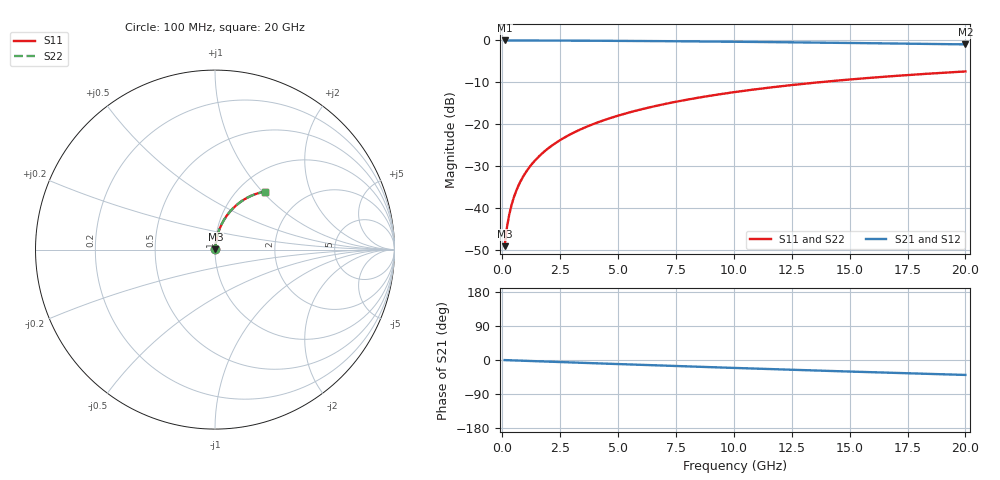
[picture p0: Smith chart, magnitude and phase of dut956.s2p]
! Touchstone file exported from HFSS 2026.1.0
!  File:  C:/ffzhzh/LocalFiles/Ansys_Project_Files/temp_train_BSMRDL_956_1783172347_55132.aedt
!  Generated:  09:40:27 PM Jul  4, 2026
!  Design:  BSMRDL
!  Project:  temp_train_BSMRDL_956_1783172347_55132
! Variables:
!  h_bsmrdl = 5.1um
!  h_ox = 20um
!  h_rdl = 5um
!  h_sub = 80um
!  h_tmrdl = 5um
!  h_tsv = 80um
!  h_via = 3um
!  l_bsmrdl = 521.69um
!  l_sub = 921.69um
!  l_tmrdl = 200um
!  m_sub = 200um
!  pitch = 56.66um
!  r_tsv = 6um
!  s_tmrdl = 10um
!  w_bsmrdl = 17.45um
!  w_sub = 500um
!  w_tmrdl = 12um
!  x_tsv_center1 = 206um
!  x_tsv_center2 = 745.14um
!  x_tsv_center3 = 957.14um
!  x_tsv_center4 = 1496.28um
!  x_tsv_center5 = 1708.28um
!  x_tsv_center6 = 2247.42um
# GHz S MA R 50.000000
! Terminal data exported
! Port[1] = BSM_RDL1_1_T1
! Port[2] = BSM_RDL1_1_T2
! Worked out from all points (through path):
!   200 points, 100 MHz to 20 GHz, reference 50 ohm
!   highest |S21| = -0.02 dB at 100 MHz (marker M1); lowest = -1.0 dB at 20 GHz (marker M2)
!   group delay of S21, straight-line fit = 5.48 ps
!   lowest |S11| = -49.2 dB at 100 MHz (marker M3), VSWR 1.01, Z = 50.2 + j0.272 ohm
!   |S11| at or under -10 dB: start of sweep to 13.7 GHz
!   |S22| runs from -49.2 to -7.4 dB; largest |S21 - S12| = 2.7e-15
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0.1  0.003486 50.9  0.9978 -0.2  0.9978 -0.2  0.003486 50.9
! Gamma 0 0 0 0
! Port Impedance 50 0 50 0
0.2  0.005831 66.6  0.9977 -0.4  0.9977 -0.4  0.005831 66.6
0.3  0.008318 72.9  0.9976 -0.7  0.9976 -0.7  0.008318 72.9
0.4  0.01084 76.2  0.9975 -0.9  0.9975 -0.9  0.01084 76.2
0.5  0.01337 78.3  0.9975 -1.1  0.9975 -1.1  0.01337 78.3
0.7  0.01848 80.6  0.9973 -1.5  0.9973 -1.5  0.01848 80.6
0.8  0.02104 81.2  0.9972 -1.8  0.9972 -1.8  0.02104 81.2
1  0.02618 82.0  0.997 -2.2  0.997 -2.2  0.02618 82.0
1.2  0.03131 82.4  0.9968 -2.6  0.9968 -2.6  0.03131 82.4
1.4  0.03645 82.5  0.9965 -3.1  0.9965 -3.1  0.03645 82.5
1.7  0.04413 82.4  0.9961 -3.7  0.9961 -3.7  0.04413 82.4
2  0.05179 82.2  0.9955 -4.4  0.9955 -4.4  0.05179 82.2
2.7  0.06951 81.2  0.994 -5.9  0.994 -5.9  0.06951 81.2
3.5  0.0895 79.8  0.9919 -7.6  0.9919 -7.6  0.0895 79.8
4.2  0.1067 78.5  0.9897 -9.0  0.9897 -9.0  0.1067 78.5
5  0.1262 77.0  0.9869 -10.7  0.9869 -10.7  0.1262 77.0
6.8  0.1688 73.5  0.9796 -14.4  0.9796 -14.4  0.1688 73.5
8.3  0.2031 70.6  0.9724 -17.5  0.9724 -17.5  0.2031 70.6
10.1  0.2427 67.2  0.9627 -21.1  0.9627 -21.1  0.2427 67.1
13.4  0.3105 61.0  0.9423 -27.5  0.9423 -27.5  0.3105 61.0
16.7  0.3715 55.0  0.9195 -33.6  0.9195 -33.6  0.3715 55.0
20  0.4254 49.4  0.8957 -39.4  0.8957 -39.4  0.4254 49.3
